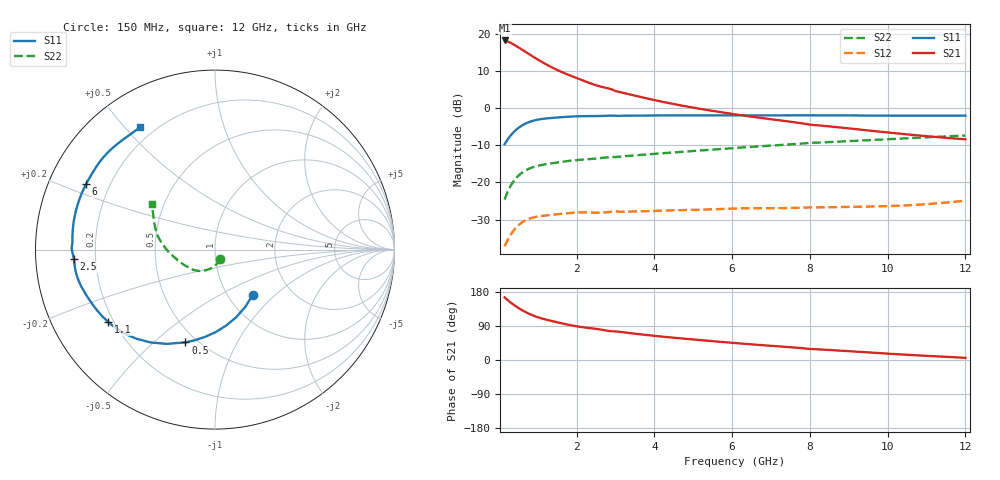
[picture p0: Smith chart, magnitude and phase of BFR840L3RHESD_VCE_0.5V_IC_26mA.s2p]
! Infineon Technologies  Discrete & RF Semiconductors
! BFR840L3RHESD
! VCE =  0.5 V,  IC =  26 mA
! Common Emitter S-Parameters:  Jun 2012
# GHz  S  MA  R  50
!  f  S11  S21  S12  S22
! GHz  MAG  ANG  MAG  ANG  MAG  ANG  MAG  ANG
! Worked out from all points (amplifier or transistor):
!   91 points, 150 MHz to 12 GHz, reference 50 ohm
!   highest |S21| = 18.4 dB at 150 MHz (marker M1)
!   |S21| within 3 dB of that: start of sweep to 675.3 MHz
!   unconditionally stable (mu >= 1): start of sweep to end of sweep
!   at 1.3 GHz: K = 1.64, MAG = 15.4 dB, |S12| = -28.8 dB
!   at 4.3 GHz: K = 3.31, MAG = 6.5 dB, |S12| = -27.6 dB
!   at 12 GHz: K = 7.01, MAG = -3.2 dB, |S12| = -24.9 dB
!   S11 on the Smith chart (normalised r, x): 150 MHz: 1.30, -0.74; 500 MHz: 0.43, -0.64; 1.1 GHz: 0.18, -0.30; 2.5 GHz: 0.12, -0.03; 6 GHz: 0.11, +0.24; 12 GHz: 0.15, +0.55
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0.15  0.3288 -50.2  8.277 165.3  0.0138 30.6  0.0588 -58.6
0.2  0.3622 -62.5  8.118 160.6  0.0156 33.8  0.0691 -71.7
0.3  0.4277 -81.6  7.701 152.1  0.0195 35.6  0.0891 -89.9
0.4  0.4882 -96.2  7.212 144.5  0.0231 34.8  0.1071 -102.6
0.5  0.5427 -107.7  6.704 137.6  0.0263 33.2  0.1228 -112.2
0.6  0.5901 -117.1  6.211 131.4  0.029 31.5  0.136 -119.7
0.8  0.6615 -131.3  5.324 121.0  0.0327 28.5  0.1554 -130.9
0.9  0.6862 -136.8  4.937 116.7  0.0338 27.1  0.1622 -135.1
1.1  0.7189 -145.7  4.27 109.8  0.0353 24.6  0.1721 -141.7
1.3  0.7387 -152.6  3.734 104.4  0.0362 22.4  0.1793 -146.7
1.6  0.7606 -160.5  3.134 97.3  0.0377 19.7  0.1892 -152.2
1.9  0.7781 -166.6  2.7 90.8  0.039 18.2  0.198 -156.4
2.2  0.7861 -171.8  2.345 85.9  0.0394 17.9  0.2044 -159.8
2.5  0.7884 -176.1  2.056 82.2  0.0391 17.6  0.2104 -162.6
2.9  0.7989 179.2  1.815 75.7  0.0404 16.4  0.2206 -165.6
3.4  0.7985 173.7  1.531 70.7  0.0405 17.4  0.23 -169.3
4.2  0.8036 166.4  1.233 61.7  0.0416 18.1  0.2478 -174.3
6  0.8055 153.0  0.844 45.4  0.0444 19.7  0.2902 174.9
6.1  0.8054 152.3  0.829 44.6  0.0445 19.8  0.2927 174.3
8.5  0.8057 137.7  0.572 26.4  0.0463 22.3  0.3512 160.6
10.5  0.7973 127.7  0.446 13.8  0.0491 28.0  0.3953 150.6
12  0.7989 121.6  0.383 5.7  0.0568 31.0  0.431 144.1
